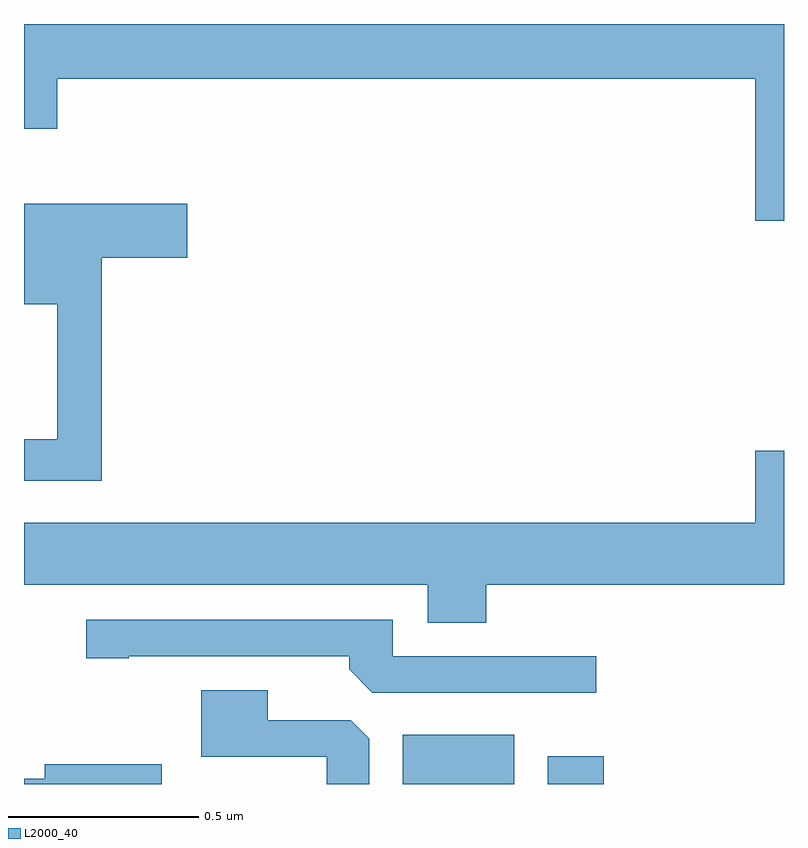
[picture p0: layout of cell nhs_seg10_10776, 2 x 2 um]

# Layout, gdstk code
import gdstk
lib = gdstk.Library(unit=1e-6, precision=1e-09)
def R(c, l, rs):  # rectangles x0, y0, x1, y1
    for r in rs: c.add(gdstk.rectangle(r[:2], r[2:], *l))
def P(c, l, *ps):  # polygons
    for p in ps: c.add(gdstk.Polygon(p, *l))
L2000_40 = (2000, 40)

nhs_seg10_10776 = lib.new_cell('nhs_seg10_10776')
R(nhs_seg10_10776, L2000_40, [(247.997,1258.5,248.29,1258.63), (248.378,1258.5,248.525,1258.573)])
P(nhs_seg10_10776, L2000_40, [(249,1260.5),(247,1260.5),(247,1260.225),(247.088,1260.225),(247.088,1260.356),(248.924,1260.356),(248.924,1259.982),(249,1259.982)],
  [(247.205,1259.885),(247.429,1259.885),(247.429,1260.027),(247,1260.027),(247,1259.762),(247.088,1259.762),(247.088,1259.407),(247,1259.407),(247,1259.298),(247.205,1259.298)],
  [(248.216,1259.024),(249,1259.024),(249,1259.377),(248.924,1259.377),(248.924,1259.188),(247,1259.188),(247,1259.024),(248.063,1259.024),(248.063,1258.925),(248.216,1258.925)],
  [(248.506,1258.836),(247.971,1258.836),(247.971,1258.932),(247.164,1258.932),(247.164,1258.831),(247.276,1258.831),(247.276,1258.836),(247.856,1258.836),(247.856,1258.802),(247.917,1258.74),(248.506,1258.74)],
  [(247.909,1258.619),(247.86,1258.668),(247.642,1258.668),(247.642,1258.747),(247.466,1258.747),(247.466,1258.572),(247.797,1258.572),(247.797,1258.5),(247.909,1258.5)],
  [(247.363,1258.552),(247.055,1258.552),(247.055,1258.514),(247,1258.514),(247,1258.5),(247.363,1258.5)])

lib.write_gds('nhs_seg10_10776.gds')
